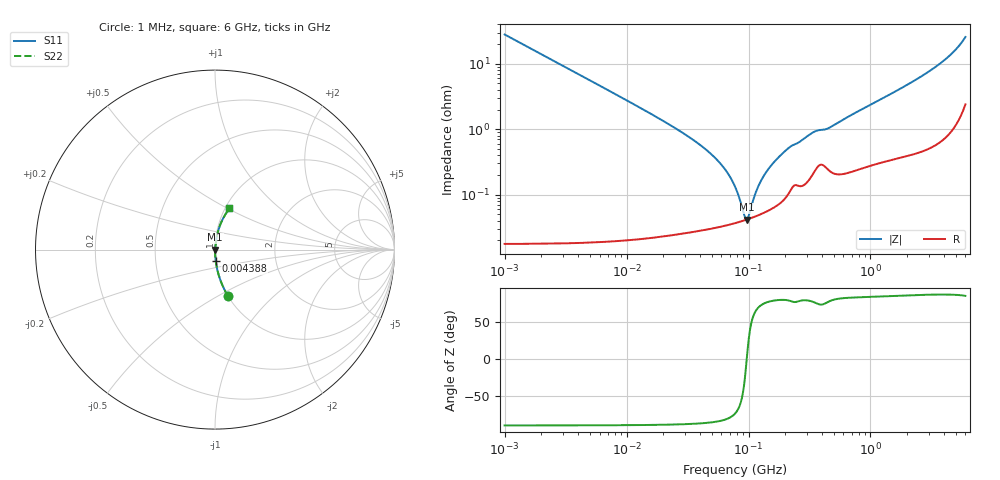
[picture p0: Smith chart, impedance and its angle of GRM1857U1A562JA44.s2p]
!Murata Part Number: GRM1857U1A562JA44
!These Parameters are Measured in Series Mode Connection
!Data Generated on Mar 30, 2021
!  o--ll--o
!Port1  Port2
!  o------o
!Operation Temp=25[degC], DC Bias Voltage=0[V]
!Freq. Start=1000[kHz] Stop=6[GHz] 401[Steps]
# Hz S RI R 50
!Freq.(Hz) S11(Real) S11(Imag) S21(Real) S21(Imag) S12(Real) S12(Imag) S22(Real) S22(Imag)
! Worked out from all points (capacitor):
!   401 points, 1 MHz to 6 GHz, reference 50 ohm
!   read as one part in series: C = 5.68 nF near 1.044 MHz
!   lowest |Z| = 41.6 mohm at 96.28 MHz (marker M1)
!   series resonance near 96.72 MHz, so ESL is about 480 pH
!   S11 on the Smith chart (normalised r, x): 1 MHz: 1.00, -0.56; 4.388 MHz: 1.00, -0.13; 6 GHz: 1.05, +0.51
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1000000  0.073 -0.2598  0.927 0.2598  0.927 0.2598  0.073 -0.2598
2005636  0.0193 -0.137  0.9807 0.137  0.9807 0.137  0.0193 -0.137
4293785  0.00441 -0.0649  0.9956 0.0649  0.9956 0.0649  0.00441 -0.0649
4388193  0.00423 -0.0635  0.9958 0.0635  0.9958 0.0635  0.00423 -0.0635
1.843659e7  0.000439 -0.0146  0.9996 0.0146  0.9996 0.0146  0.000439 -0.0146
3.245342e7  0.000321 -0.00761  0.9997 0.00761  0.9997 0.00761  0.000321 -0.00761
4.800399e7  0.000318 -0.00436  0.9997 0.00436  0.9997 0.00436  0.000318 -0.00436
6.368941e7  0.00034 -0.00246  0.9997 0.00246  0.9997 0.00246  0.00034 -0.00246
7.745967e7  0.000368 -0.00128  0.9996 0.00128  0.9996 0.00128  0.000368 -0.00128
9.218041e7  0.000405 -0.000275  0.9996 0.000275  0.9996 0.000275  0.000405 -0.000275
9.627852e7  0.000415 -2.59e-05  0.9996 2.59e-05  0.9996 2.59e-05  0.000415 -2.59e-05
1.005588e8  0.000427 0.000222  0.9996 -0.000222  0.9996 -0.000222  0.000427 0.000222
1.121107e8  0.000461 0.000846  0.9995 -0.000846  0.9995 -0.000846  0.000461 0.000846
1.223006e8  0.000493 0.00135  0.9995 -0.00135  0.9995 -0.00135  0.000493 0.00135
1.487431e8  0.000589 0.00253  0.9994 -0.00253  0.9994 -0.00253  0.000589 0.00253
2.106508e8  0.00103 0.00497  0.999 -0.00497  0.999 -0.00497  0.00103 0.00497
3.325952e8  0.00205 0.00852  0.998 -0.00852  0.998 -0.00852  0.00205 0.00852
4.608893e8  0.00241 0.0103  0.9976 -0.0103  0.9976 -0.0103  0.00241 0.0103
1.428092e9  0.00442 0.0333  0.9956 -0.0333  0.9956 -0.0333  0.00442 0.0333
3.5601e9  0.0147 0.0927  0.9853 -0.0927  0.9853 -0.0927  0.0147 0.0927
4.723371e9  0.0304 0.1416  0.9696 -0.1416  0.9696 -0.1416  0.0304 0.1416
6e9  0.0805 0.2293  0.9195 -0.2293  0.9195 -0.2293  0.0805 0.2293
